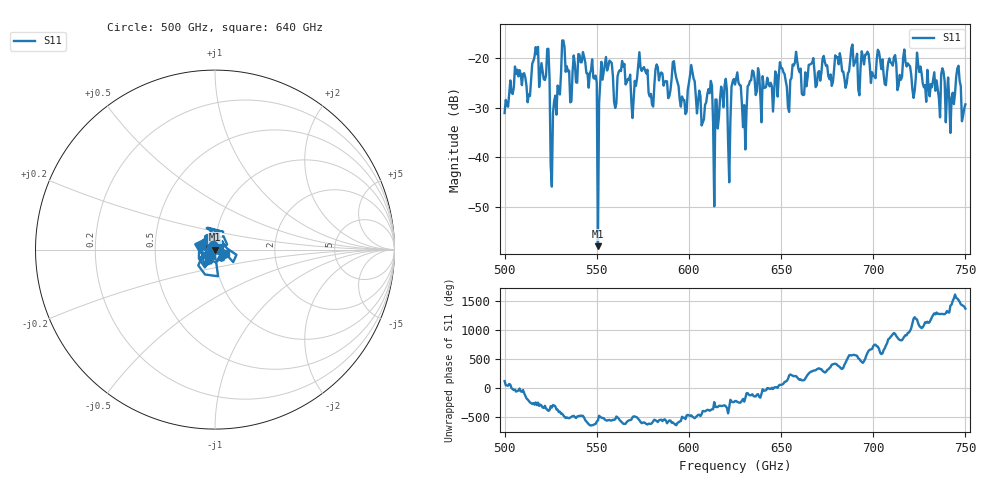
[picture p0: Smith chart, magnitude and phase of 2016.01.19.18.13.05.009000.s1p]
!Created with skrf (http://scikit-rf.org).
# GHz S RI R 50.0
!freq ReS11 ImS11
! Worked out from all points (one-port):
!   401 points, 500 GHz to 750 GHz, reference 50 ohm
!   lowest |S11| = -57.9 dB at 550.6 GHz (marker M1), VSWR 1.00, Z = 49.9 + j0.0419 ohm
!   |S11| at or under -10 dB: start of sweep to end of sweep
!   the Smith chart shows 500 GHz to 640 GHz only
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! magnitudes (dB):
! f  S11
! 500 GHz  -31.1
! 506.9 GHz  -22.4
! 513.1 GHz  -27.4
! 516.9 GHz  -17.8
! 523.1 GHz  -18.2
! 526.2 GHz  -31.1
! 531.2 GHz  -16.5
! 548.1 GHz  -24.0
! 550.6 GHz  -57.9
! 553.8 GHz  -22.8
! 562.5 GHz  -22.5
! 593.8 GHz  -24.9
! 597.5 GHz  -28.5
! 601.9 GHz  -22.7
! 608.1 GHz  -32.4
! 611.2 GHz  -27.1
! 614.4 GHz  -28.4
! 618.8 GHz  -29.9
! 622.5 GHz  -32.6
! 625 GHz  -25.4
! 630 GHz  -29.5
! 634.4 GHz  -22.6
! 656.2 GHz  -21.3
! 687.5 GHz  -20.5
! 718.8 GHz  -21.1
! 740.6 GHz  -24.0
! 746.2 GHz  -21.6
! 750 GHz  -29.4
